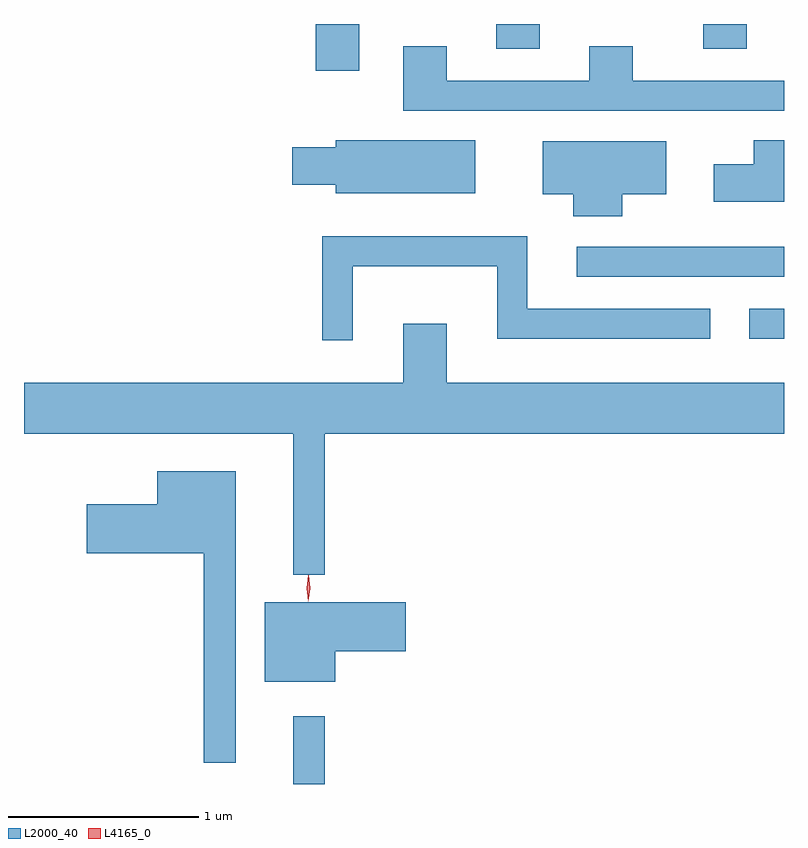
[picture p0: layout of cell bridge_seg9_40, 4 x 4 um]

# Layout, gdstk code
import gdstk
lib = gdstk.Library(unit=1e-6, precision=1e-09)
def R(c, l, rs):  # rectangles x0, y0, x1, y1
    for r in rs: c.add(gdstk.rectangle(r[:2], r[2:], *l))
def P(c, l, *ps):  # polygons
    for p in ps: c.add(gdstk.Polygon(p, *l))
L2000_40 = (2000, 40)
L4165_0 = (4165, 0)

bridge_seg9_40 = lib.new_cell('bridge_seg9_40')
R(bridge_seg9_40, L2000_40, [(1596.111,2045.472,1596.279,2045.828), (1598.513,2047.816,1598.695,2047.974), (1597.603,2048.141,1598.695,2048.299), (1596.231,2049.226,1596.459,2049.472), (1597.181,2049.341,1597.409,2049.472), (1598.271,2049.341,1598.499,2049.472)])
P(bridge_seg9_40, L2000_40, [(1598.695,2049.174),(1597.899,2049.174),(1597.899,2049.354),(1597.671,2049.354),(1597.671,2049.174),(1596.919,2049.174),(1596.919,2049.354),(1596.691,2049.354),(1596.691,2049.016),(1598.695,2049.016)],
  [(1597.069,2048.859),(1596.336,2048.859),(1596.336,2048.824),(1596.106,2048.824),(1596.106,2048.626),(1596.336,2048.626),(1596.336,2048.581),(1597.069,2048.581)],
  [(1598.695,2048.859),(1598.536,2048.859),(1598.536,2048.734),(1598.326,2048.734),(1598.326,2048.536),(1598.695,2048.536)],
  [(1597.844,2048.576),(1598.074,2048.576),(1598.074,2048.854),(1597.426,2048.854),(1597.426,2048.576),(1597.586,2048.576),(1597.586,2048.461),(1597.844,2048.461)],
  [(1596.424,2048.196),(1597.186,2048.196),(1597.186,2047.816),(1598.308,2047.816),(1598.308,2047.974),(1597.344,2047.974),(1597.344,2048.354),(1596.266,2048.354),(1596.266,2047.808),(1596.424,2047.808)],
  [(1596.279,2047.316),(1598.695,2047.316),(1598.695,2047.584),(1596.919,2047.584),(1596.919,2047.894),(1596.691,2047.894),(1596.691,2047.584),(1594.695,2047.584),(1594.695,2047.316),(1596.111,2047.316),(1596.111,2046.573),(1596.279,2046.573)],
  [(1595.809,2047.119),(1595.396,2047.119),(1595.396,2046.944),(1595.026,2046.944),(1595.026,2046.686),(1595.641,2046.686),(1595.641,2045.583),(1595.809,2045.583)],
  [(1596.334,2046.171),(1596.704,2046.171),(1596.704,2046.429),(1595.961,2046.429),(1595.961,2046.011),(1596.334,2046.011)])
P(bridge_seg9_40, L4165_0, [(1596.19,2046.434),(1596.182,2046.502),(1596.192,2046.57),(1596.192,2046.57),(1596.193,2046.57),(1596.202,2046.502),(1596.192,2046.434),(1596.191,2046.434)],
  [(1596.19,2046.44),(1596.19,2046.441),(1596.182,2046.504),(1596.192,2046.566),(1596.192,2046.567),(1596.193,2046.566),(1596.202,2046.503),(1596.191,2046.441)])

lib.write_gds('bridge_seg9_40.gds')
